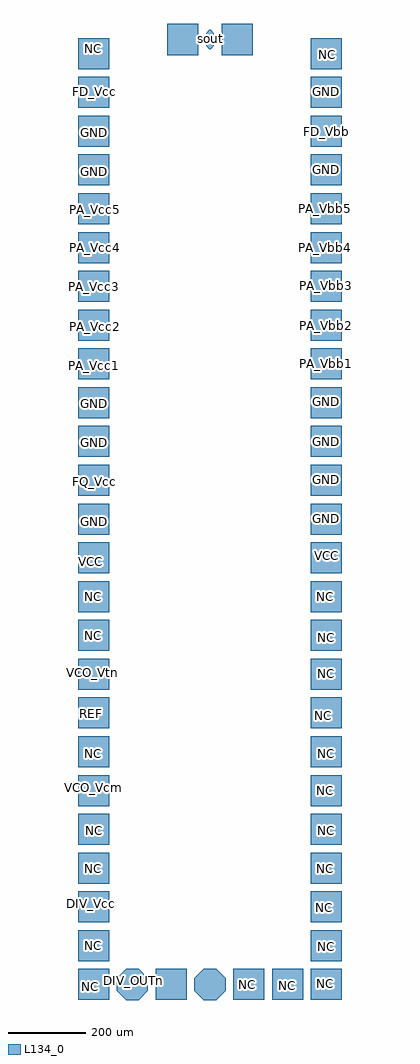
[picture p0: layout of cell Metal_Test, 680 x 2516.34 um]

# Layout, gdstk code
import gdstk
lib = gdstk.Library(unit=1e-6, precision=1e-09)
def R(c, l, rs):  # rectangles x0, y0, x1, y1
    for r in rs: c.add(gdstk.rectangle(r[:2], r[2:], *l))
def A(c, l, x, y, w, h, nx, ny, dx, dy):  # array of equal rectangles
    R(c, l, [(x+i*dx, y+j*dy, x+i*dx+w, y+j*dy+h) for i in range(nx) for j in range(ny)])
def P(c, l, *ps):  # polygons
    for p in ps: c.add(gdstk.Polygon(p, *l))
L134_0 = (134, 0)

metal_test = lib.new_cell('Metal_Test')
A(metal_test, L134_0, -340, -1249.798, 80, 80, 3, 1, 200, 0)
A(metal_test, L134_0, 260, -1249.798, 80, 80, 1, 25, 0, 100)
A(metal_test, L134_0, -340, -1149.798, 80, 80, 1, 24, 0, 100)
R(metal_test, L134_0, [(160,-1249.798,240,-1169.798), (-110.004,1186.536,-30.004,1266.536), (29.996,1186.536,109.996,1266.536)])
P(metal_test, L134_0, [(-1.504,1201.466),(-10.004,1209.966),(-10.004,1243.036),(-1.504,1251.536),(1.496,1251.536),(9.996,1243.036),(9.996,1209.966),(1.496,1201.466)],
  [(-16.57,-1249.803),(-40,-1226.373),(-40,-1193.223),(-16.57,-1169.793),(16.57,-1169.793),(40,-1193.223),(40,-1226.373),(16.57,-1249.803)],
  [(-216.57,-1249.803),(-240,-1226.373),(-240,-1193.223),(-216.57,-1169.793),(-183.43,-1169.793),(-160,-1193.223),(-160,-1226.373),(-183.43,-1249.803)])
metal_test.add(gdstk.Label('NC', (-299.775,1203.83), layer=134, texttype=25))
metal_test.add(gdstk.Label('NC', (302.45,1187.855), layer=134, texttype=25))
metal_test.add(gdstk.Label('VCC', (300.625,-102.865), layer=134, texttype=25))
metal_test.add(gdstk.Label('NC', (298.515,-210.515), layer=134, texttype=25))
metal_test.add(gdstk.Label('NC', (299.185,-313.98), layer=134, texttype=25))
metal_test.add(gdstk.Label('NC', (299.45,-408), layer=134, texttype=25))
metal_test.add(gdstk.Label('NC', (293.79,-515.92), layer=134, texttype=25))
metal_test.add(gdstk.Label('NC', (299.91,-614.695), layer=134, texttype=25))
metal_test.add(gdstk.Label('NC', (297.96,-709.385), layer=134, texttype=25))
metal_test.add(gdstk.Label('NC', (299.555,-812.07), layer=134, texttype=25))
metal_test.add(gdstk.Label('NC', (298.82,-911.08), layer=134, texttype=25))
metal_test.add(gdstk.Label('NC', (294.295,-1011.115), layer=134, texttype=25))
metal_test.add(gdstk.Label('NC', (300.33,-1111.88), layer=134, texttype=25))
metal_test.add(gdstk.Label('NC', (298.45,-1207.59), layer=134, texttype=25))
metal_test.add(gdstk.Label('NC', (199.995,-1211.27), layer=134, texttype=25))
metal_test.add(gdstk.Label('NC', (96.63,-1208.975), layer=134, texttype=25))
metal_test.add(gdstk.Label('NC', (-306.95,-1215.53), layer=134, texttype=25))
metal_test.add(gdstk.Label('NC', (-300.46,-1109.895), layer=134, texttype=25))
metal_test.add(gdstk.Label('NC', (-300.405,-911.805), layer=134, texttype=25))
metal_test.add(gdstk.Label('NC', (-297.51,-811.58), layer=134, texttype=25))
metal_test.add(gdstk.Label('NC', (-299.555,-613.375), layer=134, texttype=25))
metal_test.add(gdstk.Label('REF', (-306.47,-510.95), layer=134, texttype=25))
metal_test.add(gdstk.Label('VCC', (-308.001,-120.415), layer=134, texttype=25))
metal_test.add(gdstk.Label('NC', (-299.569,-210.371), layer=134, texttype=25))
metal_test.add(gdstk.Label('NC', (-300.41,-310.788), layer=134, texttype=25))
metal_test.add(gdstk.Label('PA_Vcc4', (-295.804,691.096), layer=134, texttype=25))
metal_test.add(gdstk.Label('sout', (0.846,1228.229), layer=134, texttype=25))
metal_test.add(gdstk.Label('GND', (299.905,92.412), layer=134, texttype=25))
metal_test.add(gdstk.Label('PA_Vbb1', (300.249,390.053), layer=134, texttype=25))
metal_test.add(gdstk.Label('FD_Vbb', (301.527,990.555), layer=134, texttype=25))
metal_test.add(gdstk.Label('PA_Vbb3', (299.418,591.867), layer=134, texttype=25))
metal_test.add(gdstk.Label('PA_Vbb5', (298.791,791.06), layer=134, texttype=25))
metal_test.add(gdstk.Label('GND', (299.905,292.615), layer=134, texttype=25))
metal_test.add(gdstk.Label('PA_Vbb4', (298.614,691.191), layer=134, texttype=25))
metal_test.add(gdstk.Label('GND', (299.905,189.808), layer=134, texttype=25))
metal_test.add(gdstk.Label('GND', (299.905,1091.393), layer=134, texttype=25))
metal_test.add(gdstk.Label('GND', (65.706,1228.355), layer=134, texttype=25))
metal_test.add(gdstk.Label('GND', (299.905,892.544), layer=134, texttype=25))
metal_test.add(gdstk.Label('PA_Vbb2', (299.834,489.817), layer=134, texttype=25))
metal_test.add(gdstk.Label('FD_Vcc', (-296.878,1093.606), layer=134, texttype=25))
metal_test.add(gdstk.Label('PA_Vcc3', (-296.711,589.398), layer=134, texttype=25))
metal_test.add(gdstk.Label('GND', (-296.559,987.062), layer=134, texttype=25))
metal_test.add(gdstk.Label('GND', (-296.559,887.212), layer=134, texttype=25))
metal_test.add(gdstk.Label('PA_Vcc2', (-295.804,487.182), layer=134, texttype=25))
metal_test.add(gdstk.Label('FQ_Vcc', (-298.134,87.608), layer=134, texttype=25))
metal_test.add(gdstk.Label('GND', (-296.559,186.309), layer=134, texttype=25))
metal_test.add(gdstk.Label('PA_Vcc5', (-295.804,786.996), layer=134, texttype=25))
metal_test.add(gdstk.Label('PA_Vcc1', (-297.1,386.909), layer=134, texttype=25))
metal_test.add(gdstk.Label('GND', (-296.559,287.134), layer=134, texttype=25))
metal_test.add(gdstk.Label('GND', (-69.712,1228.355), layer=134, texttype=25))
metal_test.add(gdstk.Label('VCO_Vtn', (-302.839,-406.582), layer=134, texttype=25))
metal_test.add(gdstk.Label('VCO_Vcm', (-300.523,-701.274), layer=134, texttype=25))
metal_test.add(gdstk.Label('DIV_Vcc', (-306.018,-1000.535), layer=134, texttype=25))
metal_test.add(gdstk.Label('DIV_OUTn', (-197.156,-1198.981), layer=134, texttype=25))
metal_test.add(gdstk.Label('vss', (-95.074,-1218.33), layer=134, texttype=25))
metal_test.add(gdstk.Label('GND', (-296.559,-14.853), layer=134, texttype=25))
metal_test.add(gdstk.Label('GND', (299.905,-9.041), layer=134, texttype=25))
metal_test.add(gdstk.Label('DIV_OUTp', (6.364,-1200.866), layer=134, texttype=25))

lib.write_gds('Metal_Test.gds')
